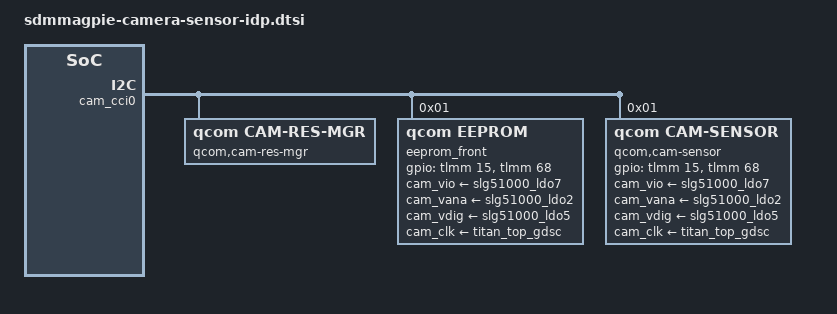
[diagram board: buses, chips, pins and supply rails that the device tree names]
/*
 * Copyright (c) 2018-2019, The Linux Foundation. All rights reserved.
 *
 * This program is free software; you can redistribute it and/or modify
 * it under the terms of the GNU General Public License version 2 and
 * only version 2 as published by the Free Software Foundation.
 *
 * This program is distributed in the hope that it will be useful,
 * but WITHOUT ANY WARRANTY; without even the implied warranty of
 * MERCHANTABILITY or FITNESS FOR A PARTICULAR PURPOSE.  See the
 * GNU General Public License for more details.
 */

#include <dt-bindings/clock/qcom,camcc-sdmmagpie.h>

&tlmm {

	cam_sensor_front_active: cam_sensor_front_active {
		/* RESET FRONT */
		mux {
			pins = "gpio68";
			function = "gpio";
		};

		config {
			pins = "gpio68";
			bias-disable; /* No PULL */
			drive-strength = <2>; /* 2 MA */
		};
	};

	cam_sensor_front_suspend: cam_sensor_front_suspend {
		/* RESET FRONT */
		mux {
			pins = "gpio68";
			function = "gpio";
		};

		config {
			pins = "gpio68";
			bias-pull-down; /* PULL DOWN */
			drive-strength = <2>; /* 2 MA */
			output-low;
		};
	};

};

&cam_cci0 {
	qcom,cam-res-mgr {
		compatible = "qcom,cam-res-mgr";
		status = "ok";
	};

	eeprom_front: qcom,eeprom@1 {
		cell-index = <1>;
		reg = <0x1>;
		compatible = "qcom,eeprom";
		cam_vio-supply = <&slg51000_ldo7>;
		cam_vana-supply = <&slg51000_ldo2>;
		cam_vdig-supply = <&slg51000_ldo5>;
		cam_clk-supply = <&titan_top_gdsc>;
		regulator-names = "cam_vio", "cam_vana", "cam_vdig",
			"cam_clk";
		rgltr-cntrl-support;
		rgltr-min-voltage = <1800000 2800000 1200000 0>;
		rgltr-max-voltage = <1800000 2800000 1200000 0>;
		rgltr-load-current = <0 80000 105000 0>;
		gpio-no-mux = <0>;
		pinctrl-names = "cam_default", "cam_suspend";
		pinctrl-0 = <&cam_sensor_mclk2_active
				&cam_sensor_front_active>;
		pinctrl-1 = <&cam_sensor_mclk2_suspend
				&cam_sensor_front_suspend>;
		gpios = <&tlmm 15 0>,
			<&tlmm 68 0>;
		gpio-reset = <1>;
		gpio-req-tbl-num = <0 1>;
		gpio-req-tbl-flags = <1 0>;
		gpio-req-tbl-label = "CAMIF_MCLK2",
					"CAM_RESET2";
		sensor-mode = <0>;
		cci-device = <0>;
		cci-master = <1>;
		status = "ok";
		clocks = <&clock_camcc CAM_CC_MCLK2_CLK>;
		clock-names = "cam_clk";
		clock-cntl-level = "turbo";
		clock-rates = <24000000>;
	};

	qcom,cam-sensor@1 {
		cell-index = <1>;
		compatible = "qcom,cam-sensor";
		reg = <0x1>;
		csiphy-sd-index = <2>;
		sensor-position-roll = <270>;
		sensor-position-pitch = <0>;
		sensor-position-yaw = <0>;
		eeprom-src = <&eeprom_front>;
		cam_vio-supply = <&slg51000_ldo7>;
		cam_vana-supply = <&slg51000_ldo2>;
		cam_vdig-supply = <&slg51000_ldo5>;
		cam_clk-supply = <&titan_top_gdsc>;
		regulator-names = "cam_vio", "cam_vana", "cam_vdig",
			"cam_clk";
		rgltr-cntrl-support;
		rgltr-min-voltage = <1800000 2800000 1200000 0>;
		rgltr-max-voltage = <1800000 2800000 1200000 0>;
		rgltr-load-current = <0 80000 105000 0>;
		gpio-no-mux = <0>;
		pinctrl-names = "cam_default", "cam_suspend";
		pinctrl-0 = <&cam_sensor_mclk2_active
				&cam_sensor_front_active>;
		pinctrl-1 = <&cam_sensor_mclk2_suspend
				&cam_sensor_front_suspend>;
		gpios = <&tlmm 15 0>,
			<&tlmm 68 0>;
		gpio-reset = <1>;
		gpio-req-tbl-num = <0 1>;
		gpio-req-tbl-flags = <1 0>;
		gpio-req-tbl-label = "CAMIF_MCLK2",
					"CAM_RESET2";
		sensor-mode = <0>;
		cci-device = <0>;
		cci-master = <1>;
		status = "ok";
		clocks = <&clock_camcc CAM_CC_MCLK2_CLK>;
		clock-names = "cam_clk";
		clock-cntl-level = "turbo";
		clock-rates = <24000000>;
	};
};

